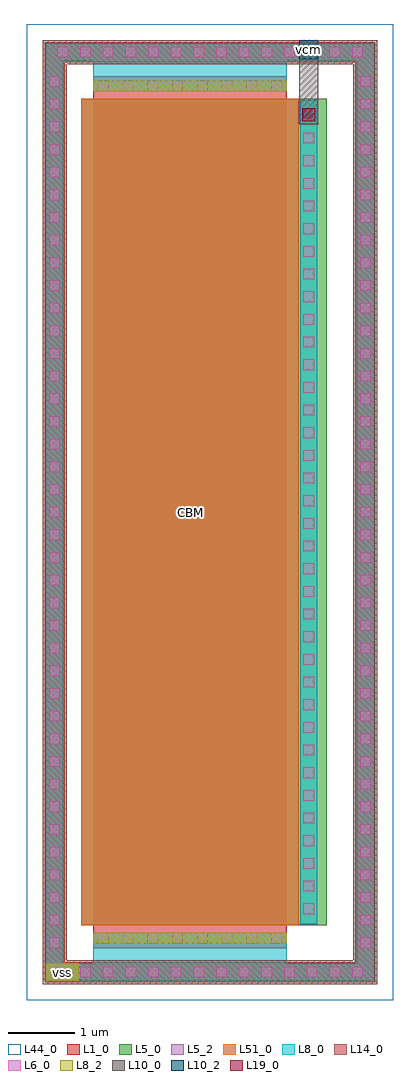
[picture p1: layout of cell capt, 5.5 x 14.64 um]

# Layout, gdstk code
from math import pi, radians
import gdstk
lib = gdstk.Library(unit=1e-6, precision=1e-09)
def R(c, l, rs):  # rectangles x0, y0, x1, y1
    for r in rs: c.add(gdstk.rectangle(r[:2], r[2:], *l))
def A(c, l, x, y, w, h, nx, ny, dx, dy):  # array of equal rectangles
    R(c, l, [(x+i*dx, y+j*dy, x+i*dx+w, y+j*dy+h) for i in range(nx) for j in range(ny)])
L1_0 = (1, 0)
L5_0 = (5, 0)
L5_2 = (5, 2)
L6_0 = (6, 0)
L8_0 = (8, 0)
L8_2 = (8, 2)
L10_0 = (10, 0)
L10_2 = (10, 2)
L14_0 = (14, 0)
L19_0 = (19, 0)
L44_0 = (44, 0)
L51_0 = (51, 0)

nmoshv_2 = lib.new_cell('nmosHV$2')
R(nmoshv_2, L1_0, [(0,0,0.3,0.3), (0,0,13.08,2.9), (12.78,0,13.08,0.3)])
R(nmoshv_2, L5_0, [(0.34,-0.18,12.74,3.08)])
R(nmoshv_2, L5_2, [(0.34,-0.18,12.74,3.08)])
A(nmoshv_2, L6_0, 0.07, 0.07, 0.16, 0.16, 1, 4, 0, 0.37)
A(nmoshv_2, L6_0, 12.85, 0.07, 0.16, 0.16, 1, 4, 0, 0.37)
A(nmoshv_2, L6_0, 0.07, 1.555, 0.16, 0.16, 1, 3, 0, 0.37)
A(nmoshv_2, L6_0, 12.85, 1.555, 0.16, 0.16, 1, 3, 0, 0.37)
R(nmoshv_2, L6_0, [(0.07,2.67,0.23,2.83), (12.85,2.67,13.01,2.83)])
R(nmoshv_2, L8_0, [(0.07,0,0.23,2.9), (12.85,0,13.01,2.9)])
R(nmoshv_2, L8_2, [(0.07,0,0.23,2.9), (12.85,0,13.01,2.9)])
R(nmoshv_2, L44_0, [(-0.27,-0.52,13.35,3.42)])
R(nmoshv_2, L51_0, [(0.34,-0.18,12.74,3.08)])
nmoshv_2.add(gdstk.Label('nmosHV', (6.54,1.45), layer=63, texttype=0))
nmoshv_2.add(gdstk.Label('nmosHV', (6.54,1.45), layer=51, texttype=0))

capt = lib.new_cell('capt')
R(capt, L1_0, [(-0.73,-0.51,4.23,-0.21), (-0.73,-0.51,-0.43,13.59), (3.93,-0.51,4.23,13.59), (-0.73,13.29,4.23,13.59)])
R(capt, L5_0, [(3,0.34,3.5,12.74)])
A(capt, L6_0, -0.54, -0.44, 0.16, 0.16, 14, 2, 0.34, 13.8)
A(capt, L6_0, -0.66, 0, 0.16, 0.16, 1, 39, 0, 0.34)
A(capt, L6_0, 4, 0, 0.16, 0.16, 1, 39, 0, 0.34)
A(capt, L6_0, 3.15, 0.51, 0.16, 0.16, 1, 36, 0, 0.34)
R(capt, L8_0, [(-0.71,-0.49,4.21,-0.23), (-0.71,-0.49,-0.45,13.57), (3.95,-0.49,4.21,13.57), (0,-0.23,2.9,0.23), (3.1,0.36,3.36,12.72), (0,12.85,2.9,13.31), (-0.71,13.31,4.21,13.57)])
R(capt, L8_2, [(-0.71,-0.49,-0.21,-0.23)])
R(capt, L10_0, [(3.085,12.355,3.375,13.62), (3.085,13.33,3.375,13.62)])
R(capt, L10_2, [(3.085,13.33,3.375,13.62)])
R(capt, L14_0, [(-0.76,-0.54,4.26,-0.18), (-0.76,-0.54,-0.4,13.62), (3.9,-0.54,4.26,13.62), (-0.76,13.26,4.26,13.62)])
R(capt, L19_0, [(3.135,12.405,3.325,12.595)])
R(capt, L44_0, [(-1,-0.78,4.5,13.86)])
capt.add(gdstk.Reference(nmoshv_2, (0,13.08), rotation=3*pi/2))
capt.add(gdstk.Label('vss', (-0.46,-0.36), layer=8, texttype=25))
capt.add(gdstk.Label('vcm', (3.23,13.475), layer=10, texttype=25))
capt.add(gdstk.Label('CBM', (1.45,6.54), layer=63, texttype=0))

lib.write_gds('capt.gds')
